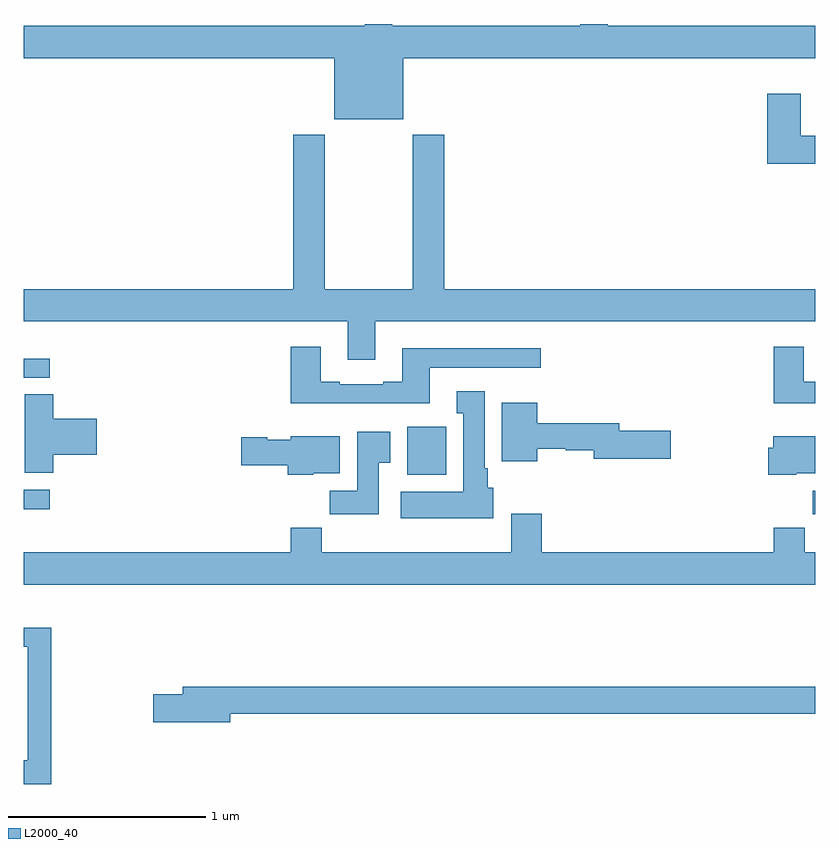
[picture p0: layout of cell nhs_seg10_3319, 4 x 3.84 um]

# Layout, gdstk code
import gdstk
lib = gdstk.Library(unit=1e-6, precision=1e-09)
def R(c, l, rs):  # rectangles x0, y0, x1, y1
    for r in rs: c.add(gdstk.rectangle(r[:2], r[2:], *l))
def P(c, l, *ps):  # polygons
    for p in ps: c.add(gdstk.Polygon(p, *l))
L2000_40 = (2000, 40)

nhs_seg10_3319 = lib.new_cell('nhs_seg10_3319')
R(nhs_seg10_3319, L2000_40, [(294.988,1286.022,295,1286.14), (291,1286.047,291.13,1286.145), (292.937,1286.222,293.134,1286.464), (291,1286.712,291.13,1286.808)])
P(nhs_seg10_3319, L2000_40, [(292.918,1288.328),(295,1288.328),(295,1288.492),(293.953,1288.492),(293.953,1288.5),(293.813,1288.5),(293.813,1288.492),(292.863,1288.492),(292.863,1288.5),(292.724,1288.5),(292.724,1288.492),(291,1288.492),(291,1288.328),(292.568,1288.328),(292.568,1288.019),(292.918,1288.019)],
  [(295,1287.934),(294.928,1287.934),(294.928,1288.147),(294.758,1288.147),(294.758,1287.794),(295,1287.794)],
  [(292.777,1286.996),(295,1286.996),(295,1287.16),(293.126,1287.16),(293.126,1287.94),(292.966,1287.94),(292.966,1287.16),(292.521,1287.16),(292.521,1287.94),(292.361,1287.94),(292.361,1287.16),(291,1287.16),(291,1286.996),(292.637,1286.996),(292.637,1286.802),(292.777,1286.802)],
  [(293.053,1286.763),(293.614,1286.763),(293.614,1286.86),(292.913,1286.86),(292.913,1286.692),(292.817,1286.692),(292.817,1286.679),(292.597,1286.679),(292.597,1286.692),(292.501,1286.692),(292.501,1286.869),(292.349,1286.869),(292.349,1286.582),(293.053,1286.582)],
  [(295,1286.692),(294.943,1286.692),(294.943,1286.869),(294.791,1286.869),(294.791,1286.582),(295,1286.582)],
  [(293.374,1286.154),(293.344,1286.154),(293.344,1286.254),(293.329,1286.254),(293.329,1286.644),(293.189,1286.644),(293.189,1286.531),(293.222,1286.531),(293.222,1286.134),(292.905,1286.134),(292.905,1286),(293.374,1286)],
  [(291.149,1286.321),(291.367,1286.321),(291.367,1286.504),(291.149,1286.504),(291.149,1286.627),(291.005,1286.627),(291.005,1286.23),(291.149,1286.23)],
  [(293.596,1286.352),(293.739,1286.352),(293.739,1286.344),(293.882,1286.344),(293.882,1286.302),(294.271,1286.302),(294.271,1286.444),(294.01,1286.444),(294.01,1286.48),(293.596,1286.48),(293.596,1286.584),(293.417,1286.584),(293.417,1286.288),(293.596,1286.288)],
  [(292.795,1286.281),(292.852,1286.281),(292.852,1286.437),(292.685,1286.437),(292.685,1286.14),(292.546,1286.14),(292.546,1286.022),(292.795,1286.022)],
  [(294.906,1286.228),(295,1286.228),(295,1286.416),(294.788,1286.416),(294.788,1286.358),(294.763,1286.358),(294.763,1286.222),(294.906,1286.222)],
  [(292.464,1286.228),(292.597,1286.228),(292.597,1286.416),(292.35,1286.416),(292.35,1286.398),(292.23,1286.398),(292.23,1286.411),(292.098,1286.411),(292.098,1286.269),(292.334,1286.269),(292.334,1286.222),(292.464,1286.222)],
  [(295,1285.828),(294.947,1285.828),(294.947,1285.952),(294.791,1285.952),(294.791,1285.828),(293.618,1285.828),(293.618,1286.023),(293.465,1286.023),(293.465,1285.828),(292.505,1285.828),(292.505,1285.952),(292.349,1285.952),(292.349,1285.828),(291,1285.828),(291,1285.664),(295,1285.664)],
  [(291.139,1285.448),(291,1285.448),(291,1285.35),(291.02,1285.35),(291.02,1284.777),(291,1284.777),(291,1284.657),(291.139,1284.657)],
  [(292.042,1285.012),(295,1285.012),(295,1285.148),(291.803,1285.148),(291.803,1285.112),(291.654,1285.112),(291.654,1284.97),(292.042,1284.97)])

lib.write_gds('nhs_seg10_3319.gds')
